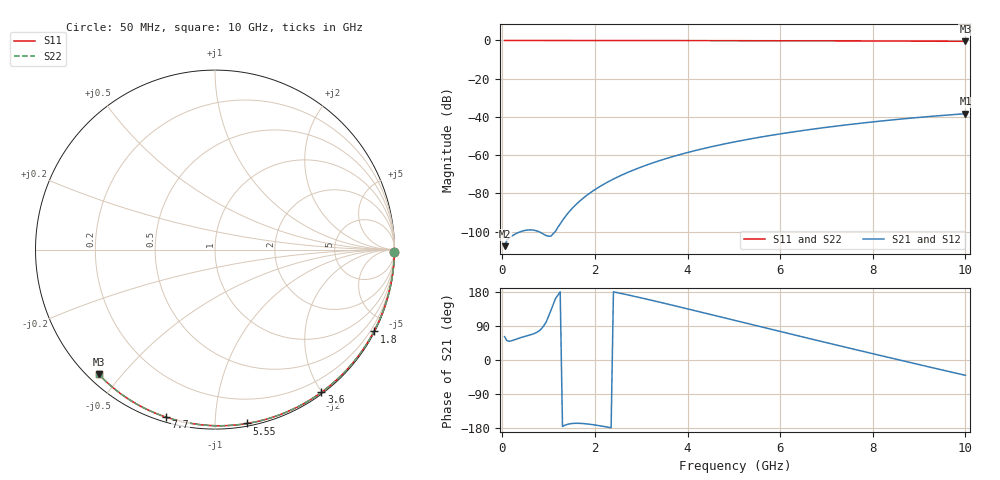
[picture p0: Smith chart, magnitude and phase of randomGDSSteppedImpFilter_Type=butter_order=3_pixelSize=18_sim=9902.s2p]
! freq	dB(S11)	phase(S11)	dB(S12)	phase(S12)
!  dB(S21)	phase(S21)	dB(S22)	phase(S22)
!S-par simulation data
#  GHz  S  DB  R 50
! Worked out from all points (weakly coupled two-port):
!   200 points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, 50 MHz to 10 GHz, reference 50 ohm
!   highest |S21| = -38.32 dB at 10 GHz (marker M1); lowest = -107.6 dB at 50 MHz (marker M2)
!   lowest |S11| = -0.4 dB at 10 GHz (marker M3), VSWR 38.84, Z = 1.53 - j21.7 ohm
!   |S11| at or under -10 dB: nowhere
!   |S22| runs from -0.4 to 0.0 dB; largest |S21 - S12| = 0
!   S11 on the Smith chart (normalised r, x): 50 MHz: open; 1.8 GHz: 0.04, -4.13; 3.6 GHz: 0.02, -1.99; 5.55 GHz: 0.02, -1.20; 7.7 GHz: 0.02, -0.75; 10 GHz: 0.03, -0.43
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0.05  -0.00 -0.8  -107.63 61.5  -107.63 61.5  -0.00 -0.8
0.9  -0.02 -13.8  -101.47 91.1  -101.47 91.1  -0.02 -13.8
1.75  -0.03 -26.5  -82.43 -167.8  -82.43 -167.8  -0.03 -26.5
1.8  -0.03 -27.2  -81.47 -168.3  -81.47 -168.3  -0.03 -27.2
1.85  -0.04 -28.0  -80.56 -169.0  -80.56 -169.0  -0.04 -28.0
1.9  -0.04 -28.7  -79.69 -169.7  -79.69 -169.7  -0.04 -28.7
2.05  -0.04 -30.9  -77.26 -172.4  -77.26 -172.4  -0.04 -30.9
2.25  -0.04 -33.9  -74.41 -176.6  -74.41 -176.6  -0.04 -33.9
2.45  -0.05 -36.8  -71.90 178.6  -71.90 178.6  -0.05 -36.8
2.65  -0.05 -39.7  -69.65 173.4  -69.65 173.4  -0.05 -39.7
3  -0.06 -44.8  -66.21 163.9  -66.21 163.9  -0.06 -44.8
3.4  -0.07 -50.5  -62.84 152.6  -62.84 152.6  -0.07 -50.5
3.6  -0.07 -53.3  -61.34 146.7  -61.34 146.7  -0.07 -53.3
4.3  -0.09 -62.9  -56.81 126.0  -56.81 126.0  -0.09 -62.9
5.05  -0.11 -73.0  -52.90 103.6  -52.90 103.6  -0.11 -73.0
5.55  -0.13 -79.5  -50.67 88.6  -50.67 88.6  -0.13 -79.5
6.1  -0.15 -86.6  -48.51 72.3  -48.51 72.3  -0.15 -86.6
6.7  -0.18 -94.1  -46.41 54.6  -46.41 54.6  -0.18 -94.1
7.7  -0.24 -106.2  -43.41 25.3  -43.41 25.3  -0.24 -106.2
8.35  -0.29 -113.9  -41.73 6.5  -41.73 6.5  -0.29 -113.9
9.15  -0.36 -123.2  -39.93 -16.4  -39.93 -16.4  -0.36 -123.2
10  -0.45 -133.0  -38.32 -40.4  -38.32 -40.4  -0.45 -133.0
